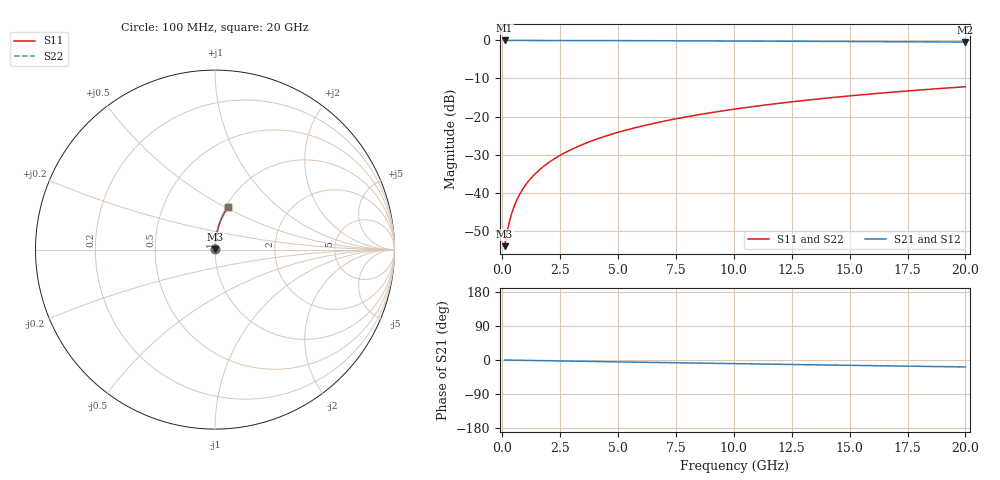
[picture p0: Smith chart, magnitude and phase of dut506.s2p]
! Touchstone file exported from HFSS 2024.1.0
!  File:  C:/UserFiles/LocalFiles/RDL_TSV_Batchsim/temp_RDL_bottom_506_1779687478.aedt
!  Generated:  01:40:20 PM May 25, 2026
!  Design:  RDL_bottom
!  Project:  temp_RDL_bottom_506_1779687478
!  Setup:  Setup1
!  Solution:  Sweep
! Variables:
!  dtsv = 10.80580581um
!  hbump = 3um
!  htsv = 55.69um
!  ldown = 186.91um
!  lrdl = 100um
!  p = 40
!  p1 = 53.28um
!  rhole = 1um
!  t = 450um
!  tdown = 3.93um
!  trdl = 3.915915916um
!  wdown = 12.07um
!  wrdl = 20um
# GHz S MA R 50.000000
! Terminal data exported
! Port[1] = RDL1_T1
! Port[2] = RDL1_T2
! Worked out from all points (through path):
!   200 points, 100 MHz to 20 GHz, reference 50 ohm
!   highest |S21| = -0.01 dB at 100 MHz (marker M1); lowest = -0.4 dB at 20 GHz (marker M2)
!   group delay of S21, straight-line fit = 2.54 ps
!   lowest |S11| = -54.0 dB at 100 MHz (marker M3), VSWR 1.00, Z = 50.2 + j0.128 ohm
!   |S11| at or under -10 dB: start of sweep to end of sweep
!   |S22| runs from -54.0 to -12.2 dB; largest |S21 - S12| = 3.4e-15
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0.1  0.001991 39.8  0.9985 -0.1  0.9985 -0.1  0.001991 39.8
! Gamma 0 0 0 0
! Port Impedance 50 0 50 0
0.2  0.002973 58.7  0.9984 -0.2  0.9984 -0.2  0.002973 58.7
0.3  0.004109 67.5  0.9984 -0.3  0.9984 -0.3  0.004108 67.5
0.4  0.005294 72.4  0.9984 -0.4  0.9984 -0.4  0.005293 72.4
0.5  0.006497 75.4  0.9983 -0.5  0.9983 -0.5  0.006496 75.4
0.6  0.007707 77.5  0.9983 -0.6  0.9983 -0.6  0.007707 77.5
0.8  0.01014 80.1  0.9982 -0.8  0.9982 -0.8  0.01014 80.1
1.1  0.0138 82.2  0.998 -1.1  0.998 -1.1  0.0138 82.2
1.5  0.01871 83.8  0.9978 -1.5  0.9978 -1.5  0.01871 83.8
1.8  0.0224 84.4  0.9975 -1.8  0.9975 -1.8  0.0224 84.4
2.1  0.0261 84.8  0.9973 -2.1  0.9973 -2.1  0.0261 84.8
2.7  0.03352 85.2  0.9967 -2.7  0.9967 -2.7  0.03352 85.2
3.5  0.04345 85.3  0.9956 -3.5  0.9956 -3.5  0.04345 85.3
4.2  0.05217 85.2  0.9946 -4.2  0.9946 -4.2  0.05217 85.2
5  0.06216 84.9  0.9932 -5.0  0.9932 -5.0  0.06216 84.9
5.9  0.07344 84.4  0.9914 -5.8  0.9914 -5.8  0.07344 84.4
6.8  0.08475 83.9  0.9895 -6.7  0.9895 -6.7  0.08475 83.9
8.3  0.1036 82.9  0.9861 -8.1  0.9861 -8.1  0.1036 82.9
10.1  0.1262 81.5  0.9816 -9.7  0.9816 -9.7  0.1262 81.5
13.4  0.1674 78.8  0.9725 -12.7  0.9725 -12.7  0.1673 78.8
16.7  0.2076 75.9  0.9625 -15.6  0.9625 -15.6  0.2076 75.9
20  0.2465 73.1  0.9516 -18.4  0.9516 -18.4  0.2465 73.1
